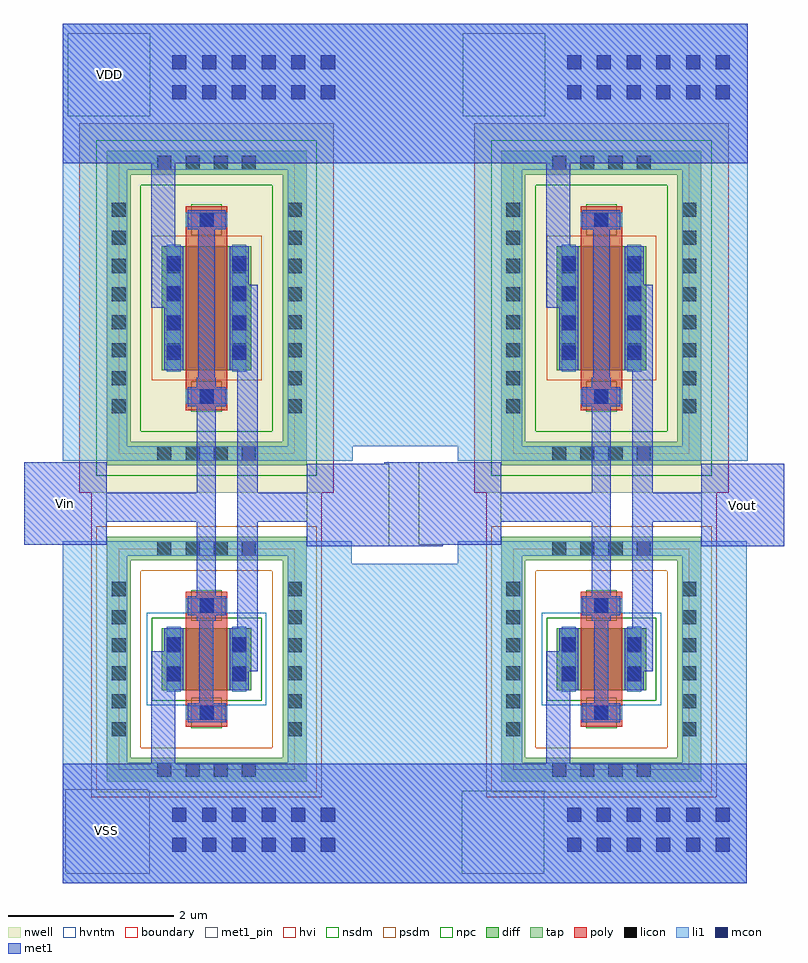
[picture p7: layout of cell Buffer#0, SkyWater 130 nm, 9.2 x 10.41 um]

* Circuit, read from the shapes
.subckt Buffer#0 VDD VSS Vin Vout
XM1 Inverter_0/Vin Vin VSS VSS sky130_fd_pr__nfet_g5v0d10v5 w=0.75 l=0.5
XM2 Vout Inverter_0/Vin VSS VSS sky130_fd_pr__nfet_g5v0d10v5 w=0.75 l=0.5
XM3 Inverter_0/Vin Vin VDD VDD sky130_fd_pr__pfet_g5v0d10v5 w=1.5 l=0.5
XM4 Vout Inverter_0/Vin VDD VDD sky130_fd_pr__pfet_g5v0d10v5 w=1.5 l=0.5
.ends

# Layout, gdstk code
import gdstk
lib = gdstk.Library(unit=1e-6, precision=1e-09)
def R(c, l, rs):  # rectangles x0, y0, x1, y1
    for r in rs: c.add(gdstk.rectangle(r[:2], r[2:], *l))
def A(c, l, x, y, w, h, nx, ny, dx, dy):  # array of equal rectangles
    R(c, l, [(x+i*dx, y+j*dy, x+i*dx+w, y+j*dy+h) for i in range(nx) for j in range(ny)])
nwell = (64, 20)
diff = (65, 20)
tap = (65, 44)
poly = (66, 20)
licon = (66, 44)
li1 = (67, 20)
mcon = (67, 44)
met1_pin = (68, 16)
met1 = (68, 20)
hvi = (75, 20)
nsdm = (93, 44)
psdm = (94, 20)
npc = (95, 20)
hvntm = (125, 20)
boundary = (235, 4)

sky130_fd_pr__pfet_g5v0d = lib.new_cell('sky130_fd_pr__pfet_g5v0d10v5_7EBZY6')
R(sky130_fd_pr__pfet_g5v0d, nwell, [(-1.54,-2.235,1.54,2.235)])
R(sky130_fd_pr__pfet_g5v0d, diff, [(-0.54,-0.75,0.54,0.75)])
R(sky130_fd_pr__pfet_g5v0d, tap, [(-1.21,-1.905,1.21,-1.615), (-1.21,-1.615,-0.92,1.615), (0.92,-1.615,1.21,1.615), (-1.21,1.615,1.21,1.905)])
R(sky130_fd_pr__pfet_g5v0d, poly, [(-0.25,-1.235,0.25,1.235)])
A(sky130_fd_pr__pfet_g5v0d, licon, -0.595, -1.845, 0.17, 0.17, 4, 2, 0.34, 3.52)
A(sky130_fd_pr__pfet_g5v0d, licon, -1.15, -1.275, 0.17, 0.17, 1, 8, 0, 0.34)
A(sky130_fd_pr__pfet_g5v0d, licon, 0.98, -1.275, 0.17, 0.17, 1, 8, 0, 0.34)
A(sky130_fd_pr__pfet_g5v0d, licon, -0.48, -0.595, 0.17, 0.17, 1, 4, 0, 0.34)
A(sky130_fd_pr__pfet_g5v0d, licon, 0.31, -0.595, 0.17, 0.17, 1, 4, 0, 0.34)
R(sky130_fd_pr__pfet_g5v0d, licon, [(-0.085,-1.155,0.085,-0.985), (-0.085,0.985,0.085,1.155)])
R(sky130_fd_pr__pfet_g5v0d, li1, [(-1.15,-1.845,1.15,-1.675), (-1.15,-1.675,-0.98,1.675), (0.98,-1.675,1.15,1.675), (-0.25,-1.155,0.25,-0.985), (-0.48,-0.77,-0.31,0.77), (0.31,-0.77,0.48,0.77), (-0.25,0.985,0.25,1.155), (-1.15,1.675,1.15,1.845)])
A(sky130_fd_pr__pfet_g5v0d, mcon, -0.48, -0.625, 0.17, 0.17, 1, 4, 0, 0.36)
A(sky130_fd_pr__pfet_g5v0d, mcon, 0.31, -0.625, 0.17, 0.17, 1, 4, 0, 0.36)
R(sky130_fd_pr__pfet_g5v0d, mcon, [(-0.085,-1.155,0.085,-0.985), (-0.085,0.985,0.085,1.155)])
R(sky130_fd_pr__pfet_g5v0d, met1, [(-0.23,-1.185,0.23,-0.955), (-0.51,-0.75,-0.28,0.75), (0.28,-0.75,0.51,0.75), (-0.23,0.955,0.23,1.185)])
R(sky130_fd_pr__pfet_g5v0d, hvi, [(-1.54,-2.235,1.54,2.235)])
R(sky130_fd_pr__pfet_g5v0d, nsdm, [(-1.335,-2.03,1.335,-1.49), (-1.335,-1.49,-0.795,1.49), (0.795,-1.49,1.335,1.49), (-1.335,1.49,1.335,2.03)])
R(sky130_fd_pr__pfet_g5v0d, psdm, [(-0.665,-0.875,0.665,0.875)])
R(sky130_fd_pr__pfet_g5v0d, npc, [(-0.185,-1.255,0.185,-0.885), (-0.185,0.885,0.185,1.255)])
R(sky130_fd_pr__pfet_g5v0d, boundary, [(-1.065,-1.76,1.065,1.76)])

sky130_fd_pr__nfet_g5v0d = lib.new_cell('sky130_fd_pr__nfet_g5v0d10v5_6XHARQ')
R(sky130_fd_pr__nfet_g5v0d, diff, [(-0.54,-0.375,0.54,0.375)])
R(sky130_fd_pr__nfet_g5v0d, tap, [(-1.21,-1.485,1.21,-1.195), (-1.21,-1.195,-0.92,1.195), (0.92,-1.195,1.21,1.195), (-1.21,1.195,1.21,1.485)])
R(sky130_fd_pr__nfet_g5v0d, poly, [(-0.25,-0.815,0.25,0.815)])
A(sky130_fd_pr__nfet_g5v0d, licon, -0.595, -1.425, 0.17, 0.17, 4, 2, 0.34, 2.68)
A(sky130_fd_pr__nfet_g5v0d, licon, -1.15, -0.935, 0.17, 0.17, 1, 6, 0, 0.34)
A(sky130_fd_pr__nfet_g5v0d, licon, 0.98, -0.935, 0.17, 0.17, 1, 6, 0, 0.34)
R(sky130_fd_pr__nfet_g5v0d, licon, [(-0.085,-0.735,0.085,-0.565), (-0.48,-0.255,-0.31,-0.085), (0.31,-0.255,0.48,-0.085), (-0.48,0.085,-0.31,0.255), (0.31,0.085,0.48,0.255), (-0.085,0.565,0.085,0.735)])
R(sky130_fd_pr__nfet_g5v0d, li1, [(-1.15,-1.425,1.15,-1.255), (-1.15,-1.255,-0.98,1.255), (0.98,-1.255,1.15,1.255), (-0.25,-0.735,0.25,-0.565), (-0.48,-0.395,-0.31,0.395), (0.31,-0.395,0.48,0.395), (-0.25,0.565,0.25,0.735), (-1.15,1.255,1.15,1.425)])
R(sky130_fd_pr__nfet_g5v0d, mcon, [(-0.085,-0.735,0.085,-0.565), (-0.48,-0.265,-0.31,-0.095), (0.31,-0.265,0.48,-0.095), (-0.48,0.095,-0.31,0.265), (0.31,0.095,0.48,0.265), (-0.085,0.565,0.085,0.735)])
R(sky130_fd_pr__nfet_g5v0d, met1, [(-0.23,-0.765,0.23,-0.535), (-0.51,-0.375,-0.28,0.375), (0.28,-0.375,0.51,0.375), (-0.23,0.535,0.23,0.765)])
R(sky130_fd_pr__nfet_g5v0d, hvi, [(-1.395,-1.67,1.395,1.67)])
R(sky130_fd_pr__nfet_g5v0d, nsdm, [(-0.665,-0.5,0.665,0.5)])
R(sky130_fd_pr__nfet_g5v0d, psdm, [(-1.335,-1.61,1.335,-1.07), (-1.335,-1.07,-0.795,1.07), (0.795,-1.07,1.335,1.07), (-1.335,1.07,1.335,1.61)])
R(sky130_fd_pr__nfet_g5v0d, npc, [(-0.185,-0.835,0.185,-0.465), (-0.185,0.465,0.185,0.835)])
R(sky130_fd_pr__nfet_g5v0d, hvntm, [(-0.725,-0.56,0.725,0.56)])
R(sky130_fd_pr__nfet_g5v0d, boundary, [(-1.065,-1.34,1.065,1.34)])

inverter = lib.new_cell('Inverter')
R(inverter, li1, [(4.95,-2.22,8.45,-0.93), (4.95,-0.93,5.73,1.91), (7.67,-0.93,8.45,1.91), (4.95,1.91,5.54,1.92), (7.84,1.91,8.45,1.92), (4.95,2.9,5.56,2.92), (7.84,2.9,8.46,2.92), (4.95,2.92,5.73,6.43), (7.67,2.92,8.46,6.43), (4.95,6.43,8.46,8.19)])
A(inverter, mcon, 6.275, -1.835, 0.17, 0.17, 6, 2, 0.36, 0.36)
A(inverter, mcon, 6.275, 7.275, 0.17, 0.17, 6, 2, 0.36, 0.36)
R(inverter, met1_pin, [(5,-2.1,6,-1.1), (7.9,1.86,8.9,2.86), (4.48,1.88,5.48,2.88), (5.01,7.07,6.01,8.07)])
R(inverter, met1, [(4.95,-2.22,8.45,-0.77), (6.02,-0.77,6.31,0.59), (6.6,-0.24,6.77,0.96), (7.06,0.35,7.31,2.16), (6.57,0.96,6.8,2.16), (7.9,1.86,8.9,2.16), (4.48,1.88,5.48,2.16), (4.48,2.16,6.8,2.51), (7.06,2.16,8.9,2.51), (4.48,2.51,5.48,2.88), (6.57,2.51,6.8,3.9), (7.06,2.51,7.31,5.02), (7.9,2.51,8.9,2.86), (6.59,3.9,6.79,5.89), (6.02,4.75,6.31,6.5), (7.19,5.02,7.31,5.03), (4.95,6.5,8.46,8.19)])
R(inverter, hvi, [(5.295,2.165,8.085,2.51)])
inverter.add(gdstk.Reference(sky130_fd_pr__pfet_g5v0d, (6.69,4.745)))
inverter.add(gdstk.Reference(sky130_fd_pr__nfet_g5v0d, (6.69,0.495)))
inverter.add(gdstk.Label('Vin', (4.98,2.38), layer=68, texttype=5))
inverter.add(gdstk.Label('VDD', (5.51,7.57), layer=68, texttype=5))
inverter.add(gdstk.Label('VSS', (5.5,-1.6), layer=68, texttype=5))
inverter.add(gdstk.Label('Vout', (8.4,2.36), layer=68, texttype=5))

buffer_0 = lib.new_cell('Buffer#0')
R(buffer_0, li1, [(13.26,6.8,14.54,10.67), (13.26,12.09,14.54,15.53), (13.27,15.53,14.54,17.21)])
R(buffer_0, met1_pin, [(9.79,6.94,10.79,7.94), (17.49,10.88,18.49,11.88), (9.29,10.9,10.29,11.9), (9.82,16.09,10.82,17.09)])
R(buffer_0, met1, [(13.26,6.8,14.54,8.25), (9.79,6.94,10.79,7.94), (13.65,10.88,14.36,11.9), (17.49,10.88,18.49,11.88), (9.29,10.9,10.29,11.9), (13.27,15.52,14.54,17.21), (9.82,16.09,10.82,17.09)])
buffer_0.add(gdstk.Reference(inverter, (9.59,9.02)))
buffer_0.add(gdstk.Reference(inverter, (4.81,9.02)))
buffer_0.add(gdstk.Label('VDD', (10.32,16.59), layer=68, texttype=5))
buffer_0.add(gdstk.Label('VSS', (10.29,7.44), layer=68, texttype=5))
buffer_0.add(gdstk.Label('Vin', (9.79,11.4), layer=68, texttype=5))
buffer_0.add(gdstk.Label('Vout', (17.99,11.38), layer=68, texttype=5))

lib.write_gds('Buffer_0.gds')
